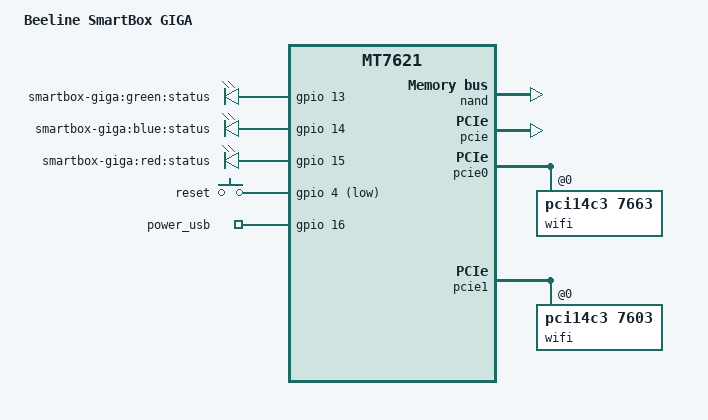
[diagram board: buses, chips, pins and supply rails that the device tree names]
// SPDX-License-Identifier: GPL-2.0-or-later OR MIT
/dts-v1/;

#include "mt7621.dtsi"

#include <dt-bindings/gpio/gpio.h>
#include <dt-bindings/input/input.h>

/ {
	compatible = "beeline,smartbox-giga", "mediatek,mt7621-soc";
	model = "Beeline SmartBox GIGA";

	aliases {
		led-boot = &led_status_blue;
		led-failsafe = &led_status_red;
		led-running = &led_status_green;
		led-upgrade = &led_status_red;
		label-mac-device = &gmac0;
	};

	chosen {
		bootargs = "console=ttyS0,115200n8";
	};

	leds {
		compatible = "gpio-leds";

		led_status_green: status_green {
			label = "smartbox-giga:green:status";
			gpios = <&gpio 13 GPIO_ACTIVE_HIGH>;
		};

		led_status_blue: status_blue {
			label = "smartbox-giga:blue:status";
			gpios = <&gpio 14 GPIO_ACTIVE_HIGH>;
		};

		led_status_red: status_red {
			label = "smartbox-giga:red:status";
			gpios = <&gpio 15 GPIO_ACTIVE_HIGH>;
		};
	};

	keys {
		compatible = "gpio-keys";

		reset {
			label = "reset";
			gpios = <&gpio 4 GPIO_ACTIVE_LOW>;
			linux,code = <KEY_RESTART>;
		};
	};
	
	gpio_export {
		compatible = "gpio-export";
		#size-cells = <0>;

		power_usb {
			gpio-export,name = "power_usb";
			gpio-export,output = <1>;
			gpios = <&gpio 16 GPIO_ACTIVE_HIGH>;
		};
	};
};

&nand {
	status = "okay";

	partitions {
		compatible = "fixed-partitions";
		#address-cells = <1>;
		#size-cells = <1>;

		partition@0 {
			label = "Bootloader";
			reg = <0x0 0x80000>;
			read-only;
		};

		partition@80000 {
			label = "Config";
			reg = <0x80000 0x40000>;
		};

		partition@c0000 {
			label = "Bdata";
			reg = <0xc0000 0x40000>;
			read-only;
		};

		factory: partition@100000 {
			label = "factory";
			reg = <0x100000 0x40000>;
			read-only;
		};

		partition@140000 {
			label = "crash";
			reg = <0x140000 0x40000>;
			read-only;
		};

		partition@180000 {
			label = "crash_syslog";
			reg = <0x180000 0x40000>;
			read-only;
		};

		partition@1c0000 {
			label = "reserved0";
			reg = <0x1c0000 0x40000>;
			read-only;
		};

		/* We not keep stock original firmware (kernel0) here */
		partition@200000 {
			label = "kernel_stock";
			reg = <0x200000 0x400000>;
			read-only;
		};

		partition@600000 {
			label = "kernel";
			reg = <0x600000 0x400000>;
		};

		partition@a00000 {
			label = "ubi";
			reg = <0xa00000 0x7580000>;
		};

		partition@7f80000 {
			label = "bbt";
			reg = <0x7f80000 0x80000>;
			read-only;
		};
	};
};

&pcie {
	status = "okay";
};

&pcie0 {
	wifi@0,0 {
		compatible = "pci14c3,7663";
		reg = <0x0000 0 0 0 0>;
		mediatek,mtd-eeprom = <&factory 0x8000>;
		mtd-mac-address = <&factory 0x21000>;
		mtd-mac-address-increment = <5>;
		ieee80211-freq-limit = <5000000 6000000>;
	};
};

&pcie1 {
	wifi@0,0 {
		compatible = "pci14c3,7603";
		reg = <0x0000 0 0 0 0>;
		mediatek,mtd-eeprom = <&factory 0x0000>;
		mtd-mac-address = <&factory 0x21000>;
		mtd-mac-address-increment = <4>;
		ieee80211-freq-limit = <2400000 2500000>;
	};
};

&gmac0 {
	mtd-mac-address = <&factory 0x21000>;
};

&switch0 {
	ports {
		port@0 {
			status = "okay";
			label = "wan";
			mtd-mac-address = <&factory 0x21000>;
			mtd-mac-address-increment = <1>;
		};

		port@1 {
			status = "okay";
			label = "lan1";
		};

		port@2 {
			status = "okay";
			label = "lan2";
		};
	};
};

&state_default {
	gpio {
		groups = "jtag", "uart2", "uart3", "wdt";
		function = "gpio";
	};
};
